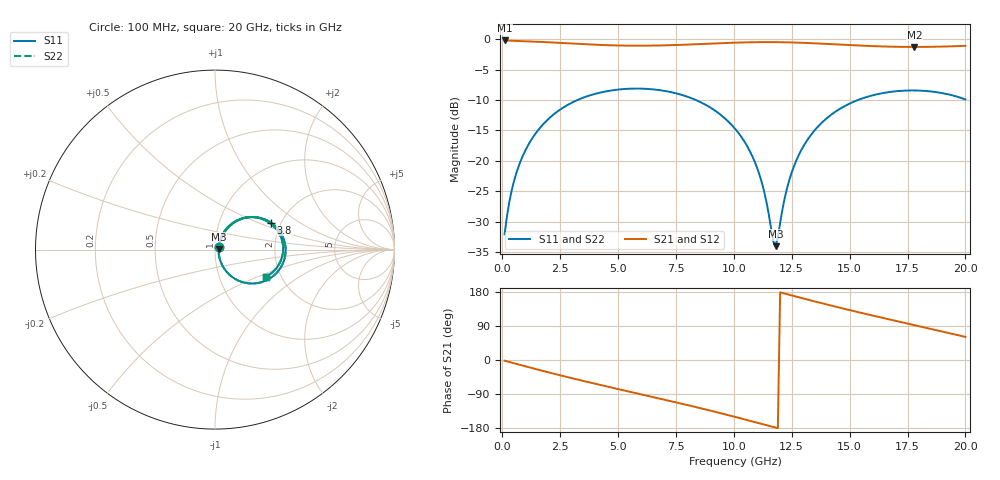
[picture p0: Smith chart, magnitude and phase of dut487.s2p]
! Touchstone file exported from HFSS 2026.1.0
!  File:  C:/ffzhzh/LocalFiles/Ansys_Project_Files/temp_train_TSV_RDL_487_1783105276_53076.aedt
!  Generated:  03:16:51 AM Jul  4, 2026
!  Design:  TSV_RDL
!  Project:  temp_train_TSV_RDL_487_1783105276_53076
! Variables:
!  h_bsmrdl = 2.18um
!  h_ox = 20um
!  h_rdl = 5um
!  h_sub = 55.11um
!  h_tmrdl = 4.81um
!  h_tsv = 55.11um
!  h_via = 3um
!  l_bsmrdl = 569.61um
!  l_sub = 5393.15um
!  l_tmrdl = 778.69um
!  m_sub = 200um
!  pitch = 44.16um
!  r_tsv = 5.56um
!  s_tmrdl = 10um
!  w_bsmrdl = 29.85um
!  w_sub = 500um
!  w_tmrdl = 26.67um
!  x_tsv_center1 = 792.025um
!  x_tsv_center2 = 1391.485um
!  x_tsv_center3 = 2196.845um
!  x_tsv_center4 = 2796.305um
!  x_tsv_center5 = 3601.665um
!  x_tsv_center6 = 4201.125um
# GHz S MA R 50.000000
! Terminal data exported
! Port[1] = TM_RDL1_1_T1
! Port[2] = TM_RDL5_1_T1
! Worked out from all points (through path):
!   200 points, 100 MHz to 20 GHz, reference 50 ohm
!   highest |S21| = -0.18 dB at 100 MHz (marker M1); lowest = -1.3 dB at 17.8 GHz (marker M2)
!   group delay of S21, straight-line fit = 41.6 ps
!   lowest |S11| = -34.0 dB at 11.8 GHz (marker M3), VSWR 1.04, Z = 52 + j0.146 ohm
!   |S11| at or under -10 dB: start of sweep to 3.24 GHz; 8.367 GHz to 15.35 GHz (6.983 GHz wide, 58.9 % of centre)
!   |S22| runs from -34.1 to -8.1 dB; largest |S21 - S12| = 8.6e-14
!   S11 on the Smith chart (normalised r, x): 100 MHz: 1.04, +0.03; 3.8 GHz: 1.78, +0.61; 20 GHz: 1.67, -0.56
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0.1  0.02488 32.7  0.9794 -1.8  0.9794 -1.8  0.02488 32.7
! Gamma 0 0 0 0
! Port Impedance 50 0 50 0
0.3  0.0455 54.4  0.9762 -5.2  0.9762 -5.2  0.0455 54.4
0.5  0.06745 60.0  0.9734 -8.5  0.9734 -8.5  0.06745 60.0
1.2  0.1434 58.9  0.9623 -20.0  0.9623 -20.0  0.1434 58.9
2.2  0.2396 47.2  0.9412 -35.8  0.9412 -35.8  0.2396 47.2
3.5  0.3313 29.7  0.9122 -55.3  0.9122 -55.3  0.3313 29.7
3.8  0.3466 25.6  0.9064 -59.6  0.9064 -59.6  0.3466 25.6
5.3  0.3907 5.7  0.8883 -80.8  0.8883 -80.8  0.3907 5.7
6.8  0.3819 -14.0  0.8906 -101.7  0.8906 -101.7  0.3818 -14.0
8.5  0.3081 -36.9  0.9137 -126.2  0.9137 -126.2  0.3081 -36.9
10.1  0.1791 -58.0  0.9399 -150.9  0.9399 -150.9  0.1791 -58.1
11.1  0.07754 -65.2  0.9487 -166.9  0.9487 -166.9  0.07751 -65.2
11.4  0.04667 -59.6  0.9493 -171.8  0.9493 -171.8  0.04663 -59.6
11.7  0.02183 -24.5  0.949 -176.7  0.949 -176.7  0.0218 -24.5
11.8  0.01984 4.1  0.9486 -178.3  0.9486 -178.3  0.01982 4.1
12.2  0.04965 59.3  0.9461 175.2  0.9461 175.2  0.04967 59.3
12.5  0.08031 63.8  0.9431 170.3  0.9431 170.3  0.08033 63.8
13.4  0.17 57.5  0.9294 156.0  0.9294 156.0  0.17 57.5
14.8  0.2832 39.6  0.9011 134.6  0.9011 134.6  0.2832 39.6
16.7  0.3681 14.5  0.8711 107.4  0.8711 107.4  0.3681 14.5
17.8  0.3797 0.3  0.8659 92.1  0.8659 92.1  0.3797 0.3
20  0.3203 -28.3  0.8845 61.0  0.8845 61.0  0.3203 -28.3
